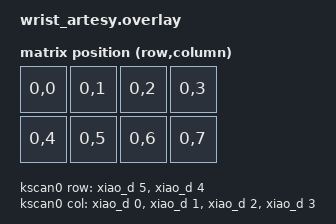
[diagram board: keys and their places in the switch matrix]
#include <dt-bindings/zmk/matrix_transform.h>

/ {
    kscan0: kscan0 {
		compatible = "zmk,kscan-gpio-matrix";
        diode-direction = "col2row";
        wakeup-source;

		label = "KSCAN";

        col-gpios
            = <&xiao_d 0 GPIO_ACTIVE_HIGH>
            , <&xiao_d 1 GPIO_ACTIVE_HIGH>
            , <&xiao_d 2 GPIO_ACTIVE_HIGH>
            , <&xiao_d 3 GPIO_ACTIVE_HIGH>
            ;

        row-gpios
            = <&xiao_d 5 (GPIO_ACTIVE_HIGH | GPIO_PULL_DOWN)>
            , <&xiao_d 4 (GPIO_ACTIVE_HIGH | GPIO_PULL_DOWN)>
            ;

    };

    default_transform: keymap_transform_0 {
		compatible = "zmk,matrix-transform";
		columns = <4>;
		rows = <2>;
		map = <
		RC(0,0)	 RC(0,1)  RC(0,2)  RC(0,3) 
        RC(0,4)  RC(0,5)  RC(0,6)  RC(0,7) 
		>;
	};
    
    physical_layout0: physical_layout_0 { // First physical layout, use different naming for other layouts
        compatible = "zmk,physical-layout";
        display-name = "Default Layout";
        kscan = <&kscan0>; // Label of the kscan node, optional if all layouts use the same
        transform = <&default_transform>; // Label of the matrix transform for this layout
    };

    
    chosen {
		zmk,kscan = &kscan0;
        // Other chosen items
    };
};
